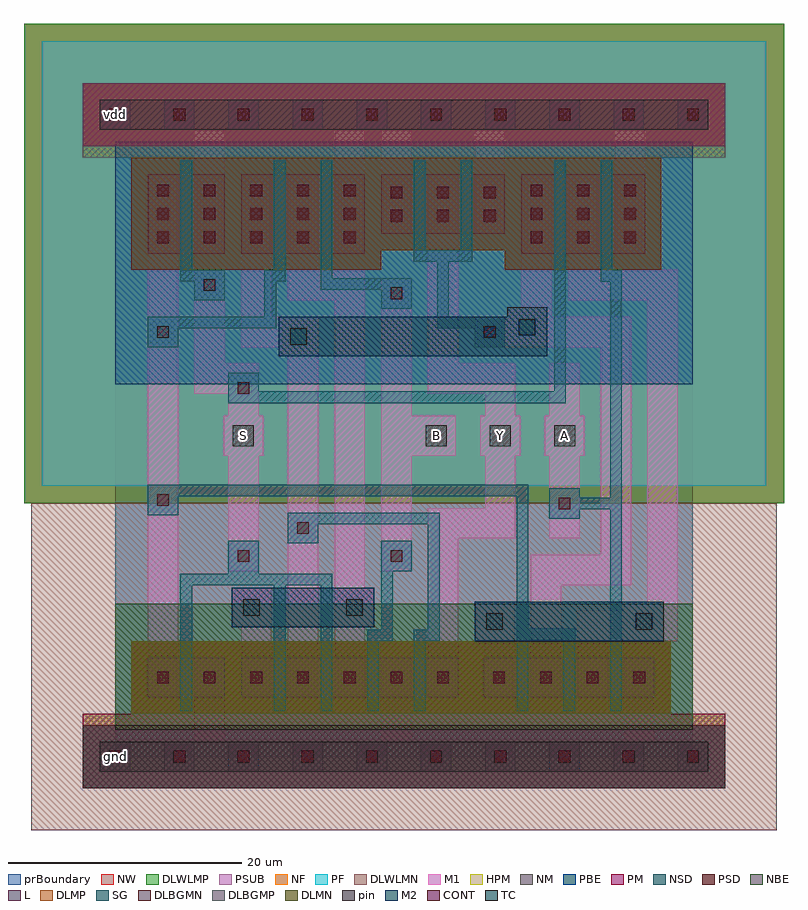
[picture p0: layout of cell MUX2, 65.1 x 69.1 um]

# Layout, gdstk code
import gdstk
lib = gdstk.Library(unit=1e-6, precision=1e-09)
def R(c, l, rs):  # rectangles x0, y0, x1, y1
    for r in rs: c.add(gdstk.rectangle(r[:2], r[2:], *l))
def A(c, l, x, y, w, h, nx, ny, dx, dy):  # array of equal rectangles
    R(c, l, [(x+i*dx, y+j*dy, x+i*dx+w, y+j*dy+h) for i in range(nx) for j in range(ny)])
def P(c, l, *ps):  # polygons
    for p in ps: c.add(gdstk.Polygon(p, *l))
L = (3, 0)
NM = (7, 0)
SG = (8, 0)
PSD = (9, 0)
CONT = (11, 0)
M1 = (13, 0)
TC = (19, 0)
M2 = (20, 0)
NF = (25, 0)
PF = (26, 0)
NSD = (28, 0)
HPM = (33, 0)
PM = (35, 0)
NW = (36, 0)
pin = (48, 1)
PSUB = (140, 0)
PBE = (146, 0)
NBE = (147, 0)
DLWLMP = (150, 0)
DLWLMN = (151, 0)
DLMP = (157, 0)
DLMN = (158, 0)
DLBGMP = (177, 0)
DLBGMN = (178, 0)
prBoundary = (235, 0)

mux2 = lib.new_cell('MUX2')
A(mux2, L, -1.3, -1.3, 2.6, 2.6, 10, 2, 5.5, 55)
R(mux2, L, [(2.8,5.1,9.4,8.5), (10.8,5.1,29.4,8.5), (31.6,5.1,46.2,8.5), (2.8,43.1,9.4,49.9), (10.8,43.1,21.4,49.9), (34.8,43.1,45.4,49.9), (22.8,44.8,33.4,49.9)])
R(mux2, NM, [(-2.75,-2.7,52.25,2.7)])
P(mux2, NM, [(1.4,41.7),(1.4,51.3),(-2.75,51.3),(-2.75,57.7),(52.25,57.7),(52.25,51.3),(46.8,51.3),(46.8,41.7),(33.4,41.7),(33.4,43.4),(22.8,43.4),(22.8,41.7)])
P(mux2, SG, [(5.6,3.9),(5.6,15.7),(9.7,15.7),(9.7,18.5),(12.3,18.5),(12.3,15.7),(18.6,15.7),(18.6,3.9),(17.6,3.9),(17.6,14.7),(14.6,14.7),(14.6,3.9),(13.6,3.9),(13.6,14.7),(6.6,14.7),(6.6,3.9)],
  [(21.6,3.9),(21.6,10.9),(22.8,10.9),(22.8,18.5),(25.4,18.5),(25.4,15.9),(23.8,15.9),(23.8,9.9),(22.6,9.9),(22.6,3.9)],
  [(25.6,3.9),(25.6,10.9),(26.8,10.9),(26.8,19.9),(17.4,19.9),(17.4,18.3),(14.8,18.3),(14.8,20.9),(27.8,20.9),(27.8,9.9),(26.6,9.9),(26.6,3.9)],
  [(34.4,3.9),(34.4,22.3),(5.4,22.3),(5.4,20.7),(2.8,20.7),(2.8,23.3),(35.4,23.3),(35.4,11),(39.4,11),(39.4,3.9),(38.4,3.9),(38.4,10),(35.4,10),(35.4,3.9)],
  [(6.8,39.1),(6.8,40.7),(5.6,40.7),(5.6,51.1),(6.6,51.1),(6.6,41.7),(9.4,41.7),(9.4,39.1)],
  [(2.8,35.1),(2.8,37.7),(12.8,37.7),(12.8,41.7),(13.6,41.7),(13.6,51.1),(14.6,51.1),(14.6,40.7),(13.8,40.7),(13.8,36.7),(5.4,36.7),(5.4,35.1)],
  [(22.8,38.4),(22.8,40),(17.6,40),(17.6,51.1),(18.6,51.1),(18.6,41),(25.4,41),(25.4,38.4)],
  [(30.8,35.1),(30.8,36.7),(27.6,36.7),(27.6,42.4),(25.6,42.4),(25.6,51.1),(26.6,51.1),(26.6,43.4),(29.6,43.4),(29.6,51.1),(30.6,51.1),(30.6,42.4),(28.6,42.4),(28.6,37.7),(33.4,37.7),(33.4,35.1)],
  [(9.7,30.3),(9.7,32.9),(12.3,32.9),(12.3,31.3),(37.6,31.3),(37.6,51.1),(38.6,51.1),(38.6,30.3)],
  [(42.4,3.9),(42.4,21.2),(39.8,21.2),(39.8,20.4),(37.2,20.4),(37.2,23),(39.8,23),(39.8,22.2),(42.4,22.2),(42.4,40.7),(41.6,40.7),(41.6,51.1),(42.6,51.1),(42.6,41.7),(43.4,41.7),(43.4,3.9)])
R(mux2, PSD, [(1.4,3.7,47.6,9.9), (-2.75,52.3,52.25,57.7)])
A(mux2, CONT, -0.5, -0.5, 1, 1, 10, 2, 5.5, 55)
A(mux2, CONT, 3.6, 6.3, 1, 1, 4, 2, 4, 37.7)
A(mux2, CONT, 15.6, 44, 1, 1, 1, 3, 0, 2)
A(mux2, CONT, 19.6, 44, 1, 1, 1, 3, 0, 2)
A(mux2, CONT, 35.6, 44, 1, 1, 1, 3, 0, 2)
A(mux2, CONT, 43.6, 44, 1, 1, 1, 3, 0, 2)
A(mux2, CONT, 3.6, 46, 1, 1, 4, 2, 4, 2)
R(mux2, CONT, [(15.6,6.3,16.6,7.3), (19.6,6.3,20.6,7.3), (19.6,6.3,20.6,7.3), (23.6,6.3,24.6,7.3), (23.6,6.3,24.6,7.3), (27.6,6.3,28.6,7.3), (32.4,6.3,33.4,7.3), (36.4,6.3,37.4,7.3), (36.4,6.3,37.4,7.3), (40.4,6.3,41.4,7.3), (40.4,6.3,41.4,7.3), (44.4,6.3,45.4,7.3), (10.5,16.7,11.5,17.7), (23.6,16.7,24.6,17.7), (15.6,19.1,16.6,20.1), (38,21.2,39,22.2), (3.6,21.5,4.6,22.5), (10.5,31.1,11.5,32.1), (3.6,35.9,4.6,36.9), (31.6,35.9,32.6,36.9), (23.6,39.2,24.6,40.2), (7.6,39.9,8.6,40.9), (39.6,44,40.6,45), (39.6,44,40.6,45), (23.6,45.85,24.6,46.85), (27.6,45.85,28.6,46.85), (27.6,45.85,28.6,46.85), (31.6,45.85,32.6,46.85), (39.6,46,40.6,47), (39.6,46,40.6,47), (23.6,47.85,24.6,48.85), (27.6,47.85,28.6,48.85), (27.6,47.85,28.6,48.85), (31.6,47.85,32.6,48.85), (39.6,48,40.6,49), (39.6,48,40.6,49)])
R(mux2, M1, [(2.8,5.1,5.4,49.9)])
P(mux2, M1, [(14.8,5.1),(14.8,34.3),(14,34.3),(14,35.1),(10.8,35.1),(10.8,49.9),(13.4,49.9),(13.4,37.7),(17.4,37.7),(17.4,5.1)],
  [(-1.3,-1.3),(-1.3,1.3),(6.8,1.3),(6.8,8.5),(9.4,8.5),(9.4,1.3),(22.8,1.3),(22.8,8.5),(25.4,8.5),(25.4,1.3),(43.6,1.3),(43.6,8.5),(46.2,8.5),(46.2,1.3),(50.8,1.3),(50.8,-1.3)],
  [(31.6,5.1),(31.6,9.9),(30.8,9.9),(30.8,13.3),(34.2,13.3),(34.2,5.1)],
  [(10.8,5.1),(10.8,11.1),(10,11.1),(10,14.5),(13.4,14.5),(13.4,5.1)],
  [(37.2,18.7),(37.2,25.8),(36.8,25.8),(36.8,29.2),(37.2,29.2),(37.2,33.7),(39.8,33.7),(39.8,29.2),(40.2,29.2),(40.2,25.8),(39.8,25.8),(39.8,18.7)],
  [(22.8,15.9),(22.8,41),(25.4,41),(25.4,29.2),(29.2,29.2),(29.2,25.8),(25.4,25.8),(25.4,15.9)],
  [(9.7,15.9),(9.7,25.8),(9.3,25.8),(9.3,29.2),(9.7,29.2),(9.7,31.1),(6.8,31.1),(6.8,41.7),(9.4,41.7),(9.4,33.7),(12.3,33.7),(12.3,29.2),(12.7,29.2),(12.7,25.8),(12.3,25.8),(12.3,15.9)],
  [(18.8,5.1),(18.8,39.1),(14.8,39.1),(14.8,49.9),(17.4,49.9),(17.4,41.7),(21.4,41.7),(21.4,14.5),(22.2,14.5),(22.2,11.1),(21.4,11.1),(21.4,5.1)],
  [(26.8,5.1),(26.8,21.3),(31.7,21.3),(31.7,25.8),(31.3,25.8),(31.3,29.2),(31.7,29.2),(31.7,31.1),(26.8,31.1),(26.8,49.9),(29.4,49.9),(29.4,33.7),(34.3,33.7),(34.3,29.2),(34.7,29.2),(34.7,25.8),(34.3,25.8),(34.3,18.7),(29.4,18.7),(29.4,5.1)],
  [(35.6,5.1),(35.6,17.3),(41.6,17.3),(41.6,35.1),(30.8,35.1),(30.8,37.7),(33.6,37.7),(33.6,38.5),(34.8,38.5),(34.8,49.9),(37.4,49.9),(37.4,37.7),(44.2,37.7),(44.2,14.7),(38.2,14.7),(38.2,5.1)],
  [(39.6,5.1),(39.6,12.5),(43.6,12.5),(43.6,13.3),(45.6,13.3),(45.6,39.1),(38.8,39.1),(38.8,49.9),(41.4,49.9),(41.4,41.7),(48.2,41.7),(48.2,9.9),(42.2,9.9),(42.2,5.1)],
  [(6.8,43.1),(6.8,53.7),(-1.3,53.7),(-1.3,56.3),(50.8,56.3),(50.8,53.7),(45.4,53.7),(45.4,43.1),(42.8,43.1),(42.8,53.7),(33.4,53.7),(33.4,44.8),(30.8,44.8),(30.8,53.7),(25.4,53.7),(25.4,44.8),(22.8,44.8),(22.8,53.7),(21.4,53.7),(21.4,43.1),(18.8,43.1),(18.8,53.7),(9.4,53.7),(9.4,43.1)])
R(mux2, TC, [(31.8,10.9,33.2,12.3), (44.6,10.9,46,12.3), (11,12.1,12.4,13.5), (19.8,12.1,21.2,13.5), (15,35.3,16.4,36.7), (34.6,36.1,36,37.5)])
R(mux2, M2, [(30.8,9.9,47,13.3), (10,11.1,22.2,14.5)])
P(mux2, M2, [(14,34.3),(14,37.7),(33.6,37.7),(33.6,38.5),(37,38.5),(37,34.3)])
R(mux2, NF, [(-6.3,23.2,55.8,61.3)])
R(mux2, PF, [(-6.3,23.2,55.8,61.3)])
R(mux2, NSD, [(-2.75,-2.7,52.25,2.7)])
P(mux2, NSD, [(1.4,41.7),(1.4,51.3),(46.8,51.3),(46.8,41.7),(33.4,41.7),(33.4,43.4),(22.8,43.4),(22.8,41.7)])
P(mux2, HPM, [(-2.75,-2.7),(-2.75,3.7),(1.4,3.7),(1.4,9.9),(47.6,9.9),(47.6,3.7),(52.25,3.7),(52.25,-2.7)],
  [(1.4,41.7),(1.4,51.3),(-2.75,51.3),(-2.75,57.7),(52.25,57.7),(52.25,51.3),(46.8,51.3),(46.8,41.7),(33.4,41.7),(33.4,43.4),(22.8,43.4),(22.8,41.7)])
R(mux2, PM, [(-2.75,52.3,52.25,57.7)])
P(mux2, PM, [(-2.75,-2.7),(-2.75,3.7),(1.4,3.7),(1.4,9.9),(47.6,9.9),(47.6,3.7),(52.25,3.7),(52.25,-2.7)])
R(mux2, NW, [(-7.8,21.7,57.3,62.8)])
A(mux2, pin, 26.6, 26.6, 1.8, 1.8, 3, 1, 5.5, 0)
R(mux2, pin, [(-1.3,-1.3,50.8,1.3), (10.1,26.6,11.9,28.4), (-1.3,53.7,50.8,56.3)])
R(mux2, PSUB, [(-6.3,23.2,55.8,61.3)])
R(mux2, PBE, [(0,31.9,49.5,52.7)])
R(mux2, NBE, [(0,2.3,49.5,13.1)])
R(mux2, DLWLMP, [(-7.8,21.7,57.3,62.8)])
R(mux2, DLWLMN, [(-7.2,-6.3,56.7,21.7)])
P(mux2, DLMP, [(1.4,41.7),(1.4,51.3),(46.8,51.3),(46.8,41.7),(33.4,41.7),(33.4,43.4),(22.8,43.4),(22.8,41.7)])
R(mux2, DLMN, [(1.4,3.7,47.6,9.9)])
R(mux2, DLBGMP, [(-2.75,52.3,52.25,57.7)])
R(mux2, DLBGMN, [(-2.75,-2.7,52.25,2.7)])
R(mux2, prBoundary, [(0,0,49.5,55)])
mux2.add(gdstk.Label('S', (11,27.5), layer=48, texttype=0))
mux2.add(gdstk.Label('B', (27.5,27.5), layer=48, texttype=0))
mux2.add(gdstk.Label('Y', (33,27.5), layer=48, texttype=0))
mux2.add(gdstk.Label('A', (38.5,27.5), layer=48, texttype=0))
mux2.add(gdstk.Label('gnd', (0,0), layer=48, texttype=0))
mux2.add(gdstk.Label('vdd', (0,55), layer=48, texttype=0))

lib.write_gds('MUX2.gds')
